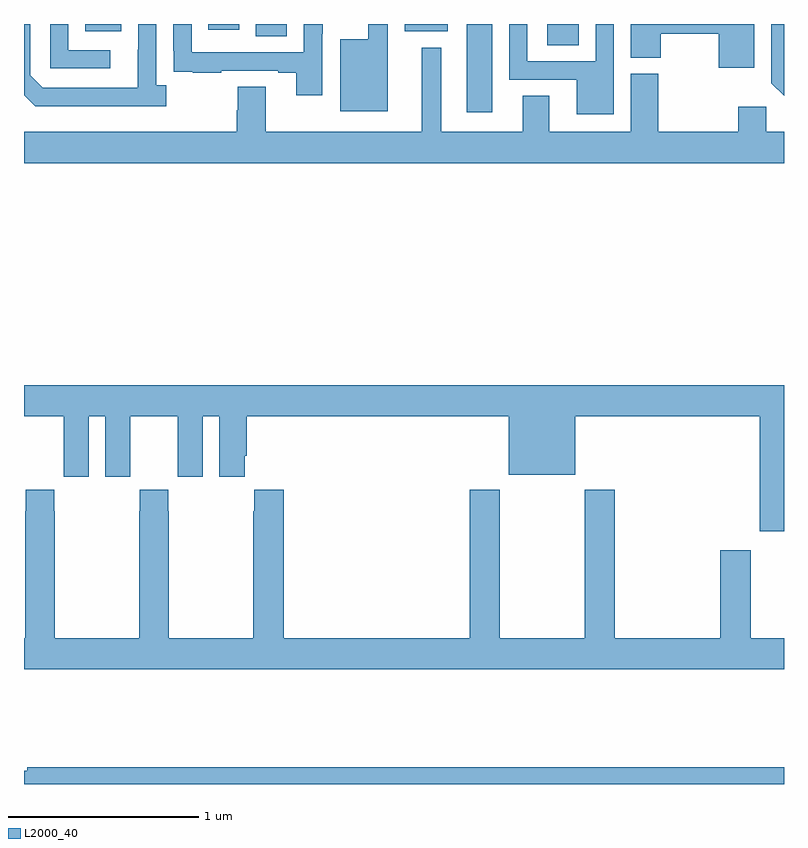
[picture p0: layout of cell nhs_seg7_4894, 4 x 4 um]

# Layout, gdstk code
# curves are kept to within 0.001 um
import gdstk
lib = gdstk.Library(unit=1e-6, precision=1e-09)
def R(c, l, rs):  # rectangles x0, y0, x1, y1
    for r in rs: c.add(gdstk.rectangle(r[:2], r[2:], *l))
def P(c, l, *ps):  # polygons
    for p in ps: c.add(gdstk.Polygon(p, *l))
L2000_40 = (2000, 40)

nhs_seg7_4894 = lib.new_cell('nhs_seg7_4894')
R(nhs_seg7_4894, L2000_40, [(419.33,1015.536,419.464,1016), (419.753,1015.888,419.92,1016), (418.22,1015.936,418.384,1016), (417.323,1015.961,417.511,1016), (419.003,1015.961,419.23,1016), (417.971,1015.971,418.132,1016)])
P(nhs_seg7_4894, L2000_40, [(418.915,1016),(418.811,1016),(418.811,1015.921),(418.664,1015.921),(418.664,1015.541),(418.915,1015.541)],
  [(417.454,1015.863),(417.234,1015.863),(417.234,1016),(417.138,1016),(417.138,1015.767),(417.454,1015.767)],
  [(417.748,1015.678),(417.696,1015.678),(417.696,1016),(417.6,1016),(417.599,1015.665),(417.099,1015.665),(417.033,1015.731),(417.033,1016),(417,1016),(417,1015.626),(417.058,1015.568),(417.748,1015.568)],
  [(418.569,1015.948),(418.572,1015.948),(418.572,1016),(418.473,1016),(418.473,1015.851),(417.882,1015.851),(417.882,1016),(417.786,1016),(417.786,1015.858),(417.787,1015.858),(417.787,1015.749),(417.889,1015.749),(417.889,1015.743),(418.037,1015.743),(418.037,1015.755),(418.337,1015.755),(418.337,1015.743),(418.433,1015.743),(418.433,1015.626),(418.569,1015.626)],
  [(420.844,1016),(420.194,1016),(420.194,1015.822),(420.351,1015.822),(420.351,1015.948),(420.657,1015.948),(420.657,1015.769),(420.844,1015.769)],
  [(421,1016),(420.933,1016),(420.933,1015.689),(421,1015.622)],
  [(420.105,1016),(420.009,1016),(420.009,1015.803),(419.649,1015.803),(419.649,1016),(419.553,1016),(419.553,1015.707),(419.909,1015.707),(419.909,1015.526),(420.105,1015.526)],
  [(421,1015.432),(420.906,1015.432),(420.906,1015.564),(420.76,1015.564),(420.76,1015.432),(420.338,1015.432),(420.338,1015.737),(420.194,1015.737),(420.194,1015.432),(419.764,1015.432),(419.764,1015.622),(419.624,1015.622),(419.624,1015.432),(419.197,1015.432),(419.197,1015.876),(419.093,1015.876),(419.093,1015.432),(418.273,1015.432),(418.273,1015.67),(418.126,1015.67),(418.126,1015.545),(418.121,1015.545),(418.121,1015.432),(417,1015.432),(417,1015.268),(421,1015.268)],
  [(421,1014.1),(417,1014.1),(417,1013.936),(417.209,1013.936),(417.209,1013.728),(417.21,1013.728),(417.21,1013.616),(417.34,1013.616),(417.34,1013.936),(417.428,1013.936),(417.428,1013.616),(417.558,1013.616),(417.558,1013.728),(417.559,1013.728),(417.559,1013.936),(417.809,1013.936),(417.809,1013.728),(417.81,1013.728),(417.81,1013.616),(417.94,1013.616),(417.94,1013.936),(418.028,1013.936),(418.028,1013.616),(418.162,1013.616),(418.162,1013.728),(418.172,1013.728),(418.172,1013.936),(419.552,1013.936),(419.552,1013.627),(419.902,1013.627),(419.902,1013.936),(420.872,1013.936),(420.872,1013.33),(421,1013.33)],
  [(421,1012.768),(420.825,1012.768),(420.825,1013.23),(420.665,1013.23),(420.665,1012.768),(420.11,1012.768),(420.11,1013.548),(419.95,1013.548),(419.95,1012.768),(419.505,1012.768),(419.505,1013.548),(419.345,1013.548),(419.345,1012.768),(418.367,1012.768),(418.367,1013.548),(418.213,1013.548),(418.213,1013.435),(418.207,1013.435),(418.207,1012.768),(417.762,1012.768),(417.762,1013.435),(417.759,1013.435),(417.759,1013.548),(417.609,1013.548),(417.609,1013.435),(417.607,1013.435),(417.607,1012.768),(417.162,1012.768),(417.162,1013.435),(417.159,1013.435),(417.159,1013.548),(417.009,1013.548),(417.009,1013.435),(417.007,1013.435),(417.007,1012.768),(417,1012.768),(417,1012.604),(421,1012.604)],
  [(421,1012.088),(417.016,1012.088),(417.016,1012.069),(417,1012.069),(417,1012),(421,1012)])

lib.write_gds('nhs_seg7_4894.gds')
